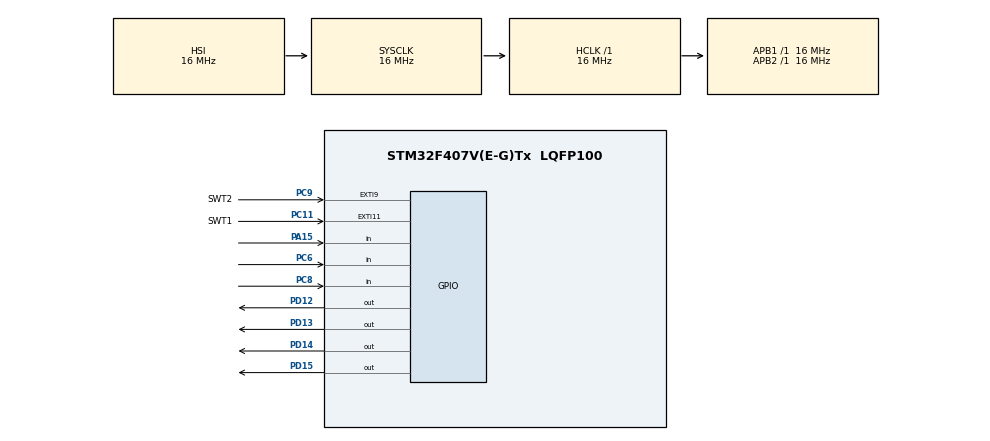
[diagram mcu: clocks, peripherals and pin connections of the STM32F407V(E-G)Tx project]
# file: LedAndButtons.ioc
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Mcu.Family=STM32F4
Mcu.Name=STM32F407V(E-G)Tx
Mcu.Package=LQFP100
NVIC.EXTI15_10_IRQn=true\:0\:0\:false\:false\:true\:true\:true
NVIC.EXTI9_5_IRQn=true\:0\:0\:false\:false\:true\:true\:true
NVIC.PriorityGroup=NVIC_PRIORITYGROUP_4
PA15.Signal=GPIO_Input
PC11.GPIO_Label=SWT1
PC11.GPIO_ModeDefaultEXTI=GPIO_MODE_IT_FALLING
PC11.Signal=GPXTI11
PC6.Signal=GPIO_Input
PC8.Signal=GPIO_Input
PC9.GPIO_Label=SWT2
PC9.GPIO_ModeDefaultEXTI=GPIO_MODE_IT_FALLING
PC9.Signal=GPXTI9
PD12.Signal=GPIO_Output
PD13.Signal=GPIO_Output
PD14.Signal=GPIO_Output
PD15.Signal=GPIO_Output
ProjectManager.HeapSize=0x200
ProjectManager.StackSize=0x400
ProjectManager.TargetToolchain=STM32CubeIDE
RCC.AHBFreq_Value=16000000
RCC.APB1Freq_Value=16000000
RCC.APB2Freq_Value=16000000
RCC.CortexFreq_Value=16000000
RCC.HSE_VALUE=25000000
RCC.HSI_VALUE=16000000
RCC.LSE_VALUE=32768
RCC.SYSCLKFreq_VALUE=16000000
RCC.VCOOutputFreq_Value=192000000
board=custom

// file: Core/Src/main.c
/* USER CODE BEGIN Header */
/**
  ******************************************************************************
  * @file           : main.c
  * @brief          : Main program body
  ******************************************************************************
  * @attention
  *
  * <h2><center>&copy; Copyright (c) 2021 STMicroelectronics.
  * All rights reserved.</center></h2>
  *
  * This software component is licensed by ST under BSD 3-Clause license,
  * the "License"; You may not use this file except in compliance with the
  * License. You may obtain a copy of the License at:
  *                        opensource.org/licenses/BSD-3-Clause
  *
  ******************************************************************************
  */
/* USER CODE END Header */
#include "main.h"

/* USER CODE BEGIN PV */
int del=500; //Задание глобальной переменной измерения задержки для extern в файл с прерываниями;
/* USER CODE END PV */

void SystemClock_Config(void);
static void MX_GPIO_Init(void);

int main(void)
{
  /* USER CODE BEGIN 1 */
	unsigned int LD1_4 = GPIO_PIN_12; // Обьявление и инициализация переменной для хранения адресов портов (0х1000 - 0х8000)  ;

  /* USER CODE END 1 */

  /* MCU Configuration--------------------------------------------------------*/

  /* Reset of all peripherals, Initializes the Flash interface and the Systick. */
  HAL_Init();

  /* Configure the system clock */
  SystemClock_Config();

  /* Initialize all configured peripherals */
  MX_GPIO_Init();
  /* USER CODE BEGIN 2 */
  for (int i = 0; i < 5; i++) //Проверка всех светодиодов перед работой программы;
  {
	  HAL_GPIO_WritePin(GPIOD, GPIO_PIN_12|GPIO_PIN_13|GPIO_PIN_14|GPIO_PIN_15, GPIO_PIN_SET);
	  HAL_Delay(50);
	  HAL_GPIO_WritePin(GPIOD, GPIO_PIN_12|GPIO_PIN_13|GPIO_PIN_14|GPIO_PIN_15, GPIO_PIN_RESET);
	  HAL_Delay(50);
  }

  /* USER CODE END 2 */

  /* Infinite loop */
  /* USER CODE BEGIN WHILE */
  while (1)
  {

	  HAL_GPIO_WritePin(GPIOD, LD1_4, GPIO_PIN_SET);
	  HAL_Delay(del/2);
	  HAL_GPIO_WritePin(GPIOD, LD1_4, GPIO_PIN_RESET);
	  HAL_Delay(del/2);

	  if(HAL_GPIO_ReadPin(GPIOC, GPIO_PIN_8) == GPIO_PIN_RESET) // Переключение светодиода по часовой стрелке
	  {
		  HAL_Delay(1000);
		  if (LD1_4 == GPIO_PIN_15)
			  LD1_4 = GPIO_PIN_12;
		  else
			  LD1_4 *= 2;
	  }

	  if(HAL_GPIO_ReadPin(GPIOC, GPIO_PIN_6) == GPIO_PIN_RESET) // Переключение светодиода против часовой стрелки
	  	  {
		  	  HAL_Delay(1000);
	  		  if (LD1_4 == GPIO_PIN_12)
	  			  LD1_4 = GPIO_PIN_15;
	  		  else
	  			  LD1_4 /= 2;
	  	  }
	  if(HAL_GPIO_ReadPin(GPIOA, GPIO_PIN_15) == GPIO_PIN_RESET) // Пауза и возобновление
		  {
			  HAL_Delay(1000);
			  HAL_GPIO_WritePin(GPIOD, GPIO_PIN_12|GPIO_PIN_13|GPIO_PIN_14|GPIO_PIN_15, GPIO_PIN_SET);
			  while (1)
				  if(HAL_GPIO_ReadPin(GPIOA, GPIO_PIN_15) == GPIO_PIN_RESET)
					  break;
			  HAL_GPIO_WritePin(GPIOD, GPIO_PIN_12|GPIO_PIN_13|GPIO_PIN_14|GPIO_PIN_15, GPIO_PIN_RESET);
			  HAL_Delay(1000);
		  }

    /* USER CODE END WHILE */

  }
}

void SystemClock_Config(void)
{
  RCC_OscInitTypeDef RCC_OscInitStruct = {0};
  RCC_ClkInitTypeDef RCC_ClkInitStruct = {0};

  /** Configure the main internal regulator output voltage
  */
  __HAL_RCC_PWR_CLK_ENABLE();
  __HAL_PWR_VOLTAGESCALING_CONFIG(PWR_REGULATOR_VOLTAGE_SCALE1);
  /** Initializes the RCC Oscillators according to the specified parameters
  * in the RCC_OscInitTypeDef structure.
  */
  RCC_OscInitStruct.OscillatorType = RCC_OSCILLATORTYPE_HSI;
  RCC_OscInitStruct.HSIState = RCC_HSI_ON;
  RCC_OscInitStruct.HSICalibrationValue = RCC_HSICALIBRATION_DEFAULT;
  RCC_OscInitStruct.PLL.PLLState = RCC_PLL_NONE;
  if (HAL_RCC_OscConfig(&RCC_OscInitStruct) != HAL_OK)
  {
    Error_Handler();
  }
  /** Initializes the CPU, AHB and APB buses clocks
  */
  RCC_ClkInitStruct.ClockType = RCC_CLOCKTYPE_HCLK|RCC_CLOCKTYPE_SYSCLK
                              |RCC_CLOCKTYPE_PCLK1|RCC_CLOCKTYPE_PCLK2;
  RCC_ClkInitStruct.SYSCLKSource = RCC_SYSCLKSOURCE_HSI;
  RCC_ClkInitStruct.AHBCLKDivider = RCC_SYSCLK_DIV1;
  RCC_ClkInitStruct.APB1CLKDivider = RCC_HCLK_DIV1;
  RCC_ClkInitStruct.APB2CLKDivider = RCC_HCLK_DIV1;

  if (HAL_RCC_ClockConfig(&RCC_ClkInitStruct, FLASH_LATENCY_0) != HAL_OK)
  {
    Error_Handler();
  }
}

static void MX_GPIO_Init(void)
{
  GPIO_InitTypeDef GPIO_InitStruct = {0};

  /* GPIO Ports Clock Enable */
  __HAL_RCC_GPIOD_CLK_ENABLE();
  __HAL_RCC_GPIOC_CLK_ENABLE();
  __HAL_RCC_GPIOA_CLK_ENABLE();

  /*Configure GPIO pin Output Level */
  HAL_GPIO_WritePin(GPIOD, GPIO_PIN_12|GPIO_PIN_13|GPIO_PIN_14|GPIO_PIN_15, GPIO_PIN_RESET);

  /*Configure GPIO pins : PD12 PD13 PD14 PD15 */
  GPIO_InitStruct.Pin = GPIO_PIN_12|GPIO_PIN_13|GPIO_PIN_14|GPIO_PIN_15;
  GPIO_InitStruct.Mode = GPIO_MODE_OUTPUT_PP;
  GPIO_InitStruct.Pull = GPIO_NOPULL;
  GPIO_InitStruct.Speed = GPIO_SPEED_FREQ_LOW;
  HAL_GPIO_Init(GPIOD, &GPIO_InitStruct);

  /*Configure GPIO pins : PC6 PC8 */
  GPIO_InitStruct.Pin = GPIO_PIN_6|GPIO_PIN_8;
  GPIO_InitStruct.Mode = GPIO_MODE_INPUT;
  GPIO_InitStruct.Pull = GPIO_NOPULL;
  HAL_GPIO_Init(GPIOC, &GPIO_InitStruct);

  /*Configure GPIO pins : SWT2_Pin SWT1_Pin */
  GPIO_InitStruct.Pin = SWT2_Pin|SWT1_Pin;
  GPIO_InitStruct.Mode = GPIO_MODE_IT_FALLING;
  GPIO_InitStruct.Pull = GPIO_NOPULL;
  HAL_GPIO_Init(GPIOC, &GPIO_InitStruct);

  /*Configure GPIO pin : PA15 */
  GPIO_InitStruct.Pin = GPIO_PIN_15;
  GPIO_InitStruct.Mode = GPIO_MODE_INPUT;
  GPIO_InitStruct.Pull = GPIO_NOPULL;
  HAL_GPIO_Init(GPIOA, &GPIO_InitStruct);

  /* EXTI interrupt init*/
  HAL_NVIC_SetPriority(EXTI9_5_IRQn, 0, 0);
  HAL_NVIC_EnableIRQ(EXTI9_5_IRQn);

  HAL_NVIC_SetPriority(EXTI15_10_IRQn, 0, 0);
  HAL_NVIC_EnableIRQ(EXTI15_10_IRQn);

}

void Error_Handler(void)
{
  __disable_irq();
  while (1)
  {
  }
}

/************************ (C) COPYRIGHT STMicroelectronics *****END OF FILE****/
